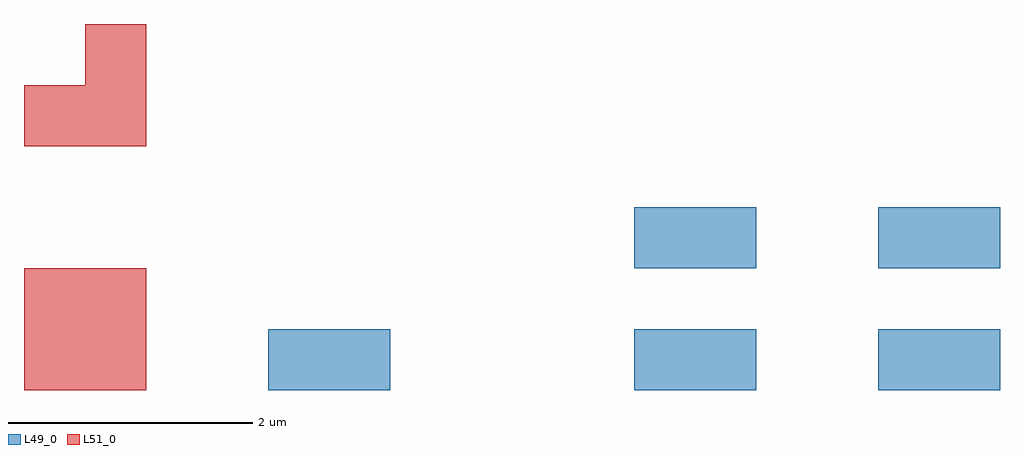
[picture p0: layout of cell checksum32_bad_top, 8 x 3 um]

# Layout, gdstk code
import gdstk
lib = gdstk.Library(unit=1e-6, precision=1e-09)
def R(c, l, rs):  # rectangles x0, y0, x1, y1
    for r in rs: c.add(gdstk.rectangle(r[:2], r[2:], *l))
def P(c, l, *ps):  # polygons
    for p in ps: c.add(gdstk.Polygon(p, *l))
L49_0 = (49, 0)
L51_0 = (51, 0)

checksum32_bad_leaf = lib.new_cell('checksum32_bad_leaf')
R(checksum32_bad_leaf, L49_0, [(0,0,1,0.5)])
checksum32_bad_leaf.add(gdstk.Label('A', (0.1,0.1), layer=49, texttype=0))

checksum32_bad_top = lib.new_cell('checksum32_bad_top')
R(checksum32_bad_top, L51_0, [(0,0,1,1)])
P(checksum32_bad_top, L51_0, [(0,2),(1,2),(1,3),(0.5,3),(0.5,2.5),(0,2.5)])
checksum32_bad_top.add(gdstk.Reference(checksum32_bad_leaf, (2,0)))
r = gdstk.Reference(checksum32_bad_leaf, (5,0)); r.repetition = gdstk.Repetition(2, 2, v1=(2,0), v2=(0,1)); checksum32_bad_top.add(r)

lib.write_gds('checksum32_bad_top.gds')
